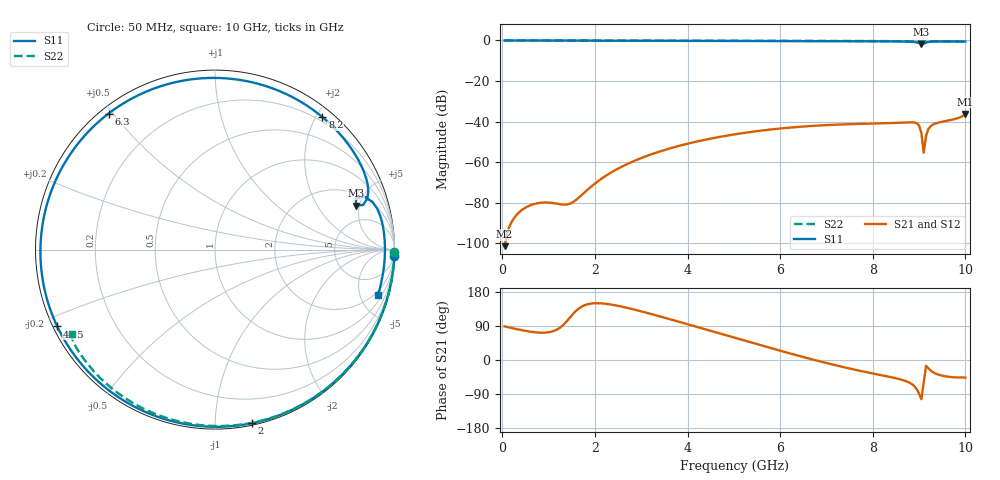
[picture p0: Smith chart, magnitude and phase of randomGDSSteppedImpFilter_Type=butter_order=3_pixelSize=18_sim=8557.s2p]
! freq	dB(S11)	phase(S11)	dB(S12)	phase(S12)
!  dB(S21)	phase(S21)	dB(S22)	phase(S22)
!S-par simulation data
#  GHz  S  DB  R 50
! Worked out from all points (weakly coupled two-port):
!   200 points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, 50 MHz to 10 GHz, reference 50 ohm
!   highest |S21| = -36.26 dB at 10 GHz (marker M1); lowest = -101.5 dB at 50 MHz (marker M2)
!   lowest |S11| = -1.7 dB at 9.05 GHz (marker M3), VSWR 10.33, Z = 152 + j232 ohm
!   |S11| at or under -10 dB: nowhere
!   |S22| runs from -0.7 to 0.0 dB; largest |S21 - S12| = 0
!   S11 on the Smith chart (normalised r, x): 50 MHz: 0, -56; 2 GHz: 0.01, -1.23; 4.15 GHz: 0.01, -0.23; 6.3 GHz: 0.02, +0.49; 8.2 GHz: 0.14, +2.09; 10 GHz: 1.56, -7.06
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0.05  -0.00 -2.0  -101.49 88.7  -101.49 88.7  -0.00 -0.9
0.75  -0.04 -30.0  -80.36 72.7  -80.36 72.7  -0.02 -12.8
1.5  -0.08 -59.2  -80.11 117.8  -80.11 117.8  -0.03 -25.4
1.75  -0.09 -68.7  -75.52 143.1  -75.52 143.1  -0.04 -29.5
2  -0.10 -78.0  -70.60 149.8  -70.60 149.8  -0.04 -33.6
2.6  -0.12 -99.8  -62.04 140.3  -62.04 140.3  -0.06 -43.4
3.4  -0.16 -128.0  -54.78 115.1  -54.78 115.1  -0.07 -56.1
4.15  -0.20 -154.0  -50.14 89.1  -50.14 89.1  -0.09 -67.6
5.05  -0.25 174.4  -46.20 57.4  -46.20 57.4  -0.12 -80.9
5.65  -0.29 152.6  -44.31 36.5  -44.31 36.5  -0.15 -89.6
6.3  -0.33 128.0  -42.81 14.4  -42.81 14.4  -0.18 -98.6
6.7  -0.36 112.3  -42.15 1.4  -42.15 1.4  -0.20 -104.1
7.45  -0.40 81.9  -41.35 -21.1  -41.35 -21.1  -0.25 -114.3
8.2  -0.44 50.9  -40.88 -40.5  -40.88 -40.5  -0.31 -124.2
8.35  -0.46 44.7  -40.78 -44.2  -40.78 -44.2  -0.32 -126.2
8.95  -0.96 18.5  -40.84 -76.9  -40.84 -76.9  -0.38 -134.1
9  -1.29 16.8  -41.96 -88.6  -41.96 -88.6  -0.38 -134.8
9.05  -1.69 17.3  -45.78 -103.4  -45.78 -103.4  -0.39 -135.5
9.1  -1.56 19.9  -55.41 -59.1  -55.41 -59.1  -0.40 -136.1
9.15  -1.06 19.4  -47.09 -15.3  -47.09 -15.3  -0.40 -136.8
9.25  -0.61 14.2  -42.26 -27.8  -42.26 -27.8  -0.41 -138.1
10  -0.51 -15.4  -36.26 -46.6  -36.26 -46.6  -0.65 -149.5
